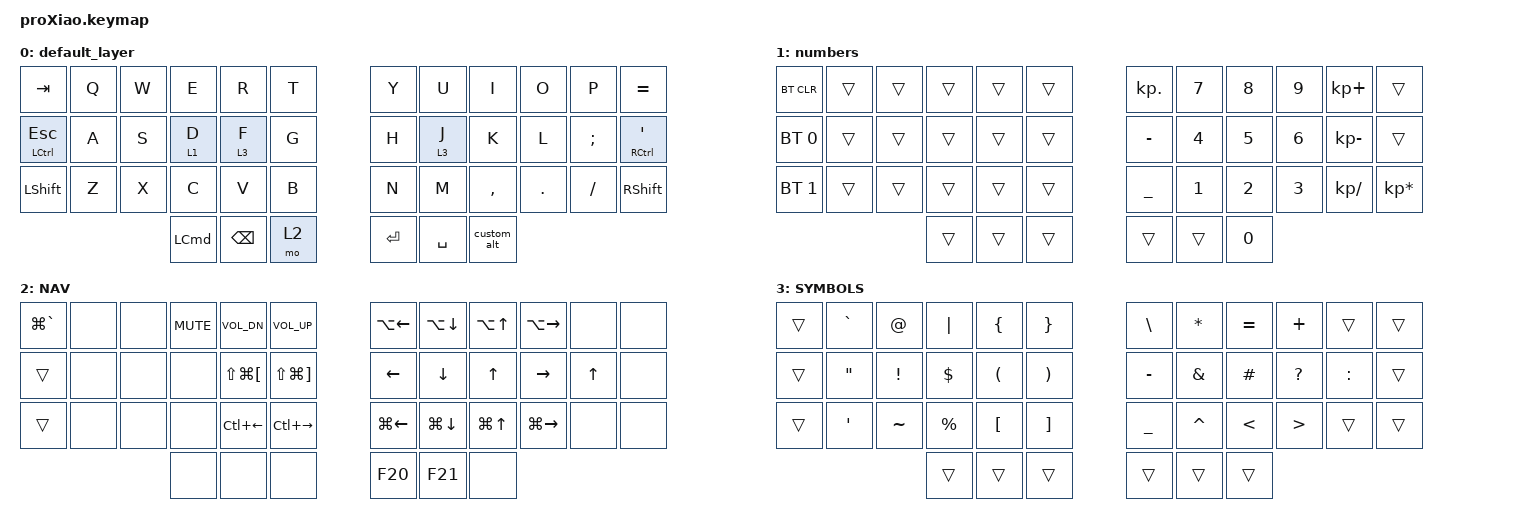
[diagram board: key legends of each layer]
/*
 * Copyright (c) 2020 The ZMK Contributors
 *
 * SPDX-License-Identifier: MIT
 */

#include <behaviors.dtsi>
#include <dt-bindings/zmk/bt.h>
#include <dt-bindings/zmk/keys.h>

#define DEF 0
#define LWR 1
#define RSE 2
#define ADJ 3

&lt { quick-tap-ms = <220>; flavor = "balanced"; require-prior-idle-ms = <150>; };

&mt { quick-tap-ms = <220>; };

/ {
};

/ {
    behaviors {
        custom_alt: custom_alt {
            compatible = "zmk,behavior-tap-dance";
            #binding-cells = <0>;
            bindings = <&kp RIGHT_ALT>, <&kp LA(SPACE)>;
        };
    };

    keymap {
        compatible = "zmk,keymap";

        default_layer {
            // ------------------------------------------------------------------------------------------------
            //| LGUI/] |  Q  |  W  |  E  |  R  |  T  |   |  Y  |  U   |  I  |  O  |  P  | RGUI/[ | 
            //| CTRL/` |  A  |  S  |  D  |  F  |  G  |   |  H  |  J   |  K  |  L  |  ;  | CTRL/' |
            //| LALT/\ |  Z  |  X  |  C  |  V  |  B  |   |  N  |  M   |  ,  |  .  |  /  | RALT/- |
            //                             | RSE | SPC | LWR |   | LWR | BKSP | RSE |

            bindings = <
&kp TAB                  &kp Q  &kp W  &kp E             &kp R          &kp T    &kp Y      &kp U      &kp I        &kp O    &kp P     &kp EQUAL
&mt LEFT_CONTROL ESCAPE  &kp A  &kp S  &lt 1 D           &lt 3 F        &kp G    &kp H      &lt 3 J    &kp K        &kp L    &kp SEMI  &mt RCTRL SINGLE_QUOTE
&kp LEFT_SHIFT           &kp Z  &kp X  &kp C             &kp V          &kp B    &kp N      &kp M      &kp COMMA    &kp DOT  &kp FSLH  &kp RIGHT_SHIFT
                                       &kp LEFT_COMMAND  &kp BACKSPACE  &mo 2    &kp ENTER  &kp SPACE  &custom_alt
            >;
        };

        numbers {
            bindings = <
&bt BT_CLR    &trans  &trans  &trans  &trans  &trans    &kp KP_DOT      &kp N7        &kp NUMBER_8  &kp NUMBER_9  &kp KP_PLUS    &trans
&bt BT_SEL 0  &trans  &trans  &trans  &trans  &trans    &kp MINUS       &kp NUMBER_4  &kp NUMBER_5  &kp N6        &kp KP_MINUS   &trans
&bt BT_SEL 1  &trans  &trans  &trans  &trans  &trans    &kp UNDERSCORE  &kp NUMBER_1  &kp NUMBER_2  &kp NUMBER_3  &kp KP_DIVIDE  &kp KP_MULTIPLY
                              &trans  &trans  &trans    &trans          &trans        &kp NUMBER_0
            >;
        };

        NAV {
            bindings = <
&kp LG(GRAVE) &none  &none  &kp C_MUTE &kp C_VOL_DN              &kp C_VOL_UP              &kp LA(LEFT) &kp LA(DOWN)  &kp LA(UP) &kp LA(RIGHT) &none  &none
&trans        &none  &none  &none      &kp LS(LG(LEFT_BRACKET))  &kp LS(LG(RIGHT_BRACKET)) &kp LEFT     &kp DOWN      &kp UP     &kp RIGHT     &kp UP &none
&trans        &none  &none  &none      &kp LC(LEFT)              &kp LC(RIGHT)             &kp LG(LEFT) &kp LG(DOWN)  &kp LG(UP) &kp LG(RIGHT) &none  &none
                            &none      &none                     &none                     &kp F20      &kp F21       &none
            >;
        };

        SYMBOLS {
            bindings = <
&trans  &kp GRAVE          &kp AT     &kp PIPE     &kp LEFT_BRACE        &kp RIGHT_BRACE          &kp BACKSLASH  &kp ASTERISK  &kp EQUAL      &kp PLUS          &trans     &trans
&trans  &kp DOUBLE_QUOTES  &kp EXCL   &kp DOLLAR   &kp LEFT_PARENTHESIS  &kp RIGHT_PARENTHESIS    &kp MINUS      &kp AMPS      &kp HASH       &kp QMARK         &kp COLON  &trans
&trans  &kp SINGLE_QUOTE   &kp TILDE  &kp PERCENT  &kp LEFT_BRACKET      &kp RIGHT_BRACKET        &kp UNDER      &kp CARET     &kp LESS_THAN  &kp GREATER_THAN  &trans     &trans
                                      &trans       &trans                &trans                   &trans         &trans        &trans
            >;
        };
    };
};
